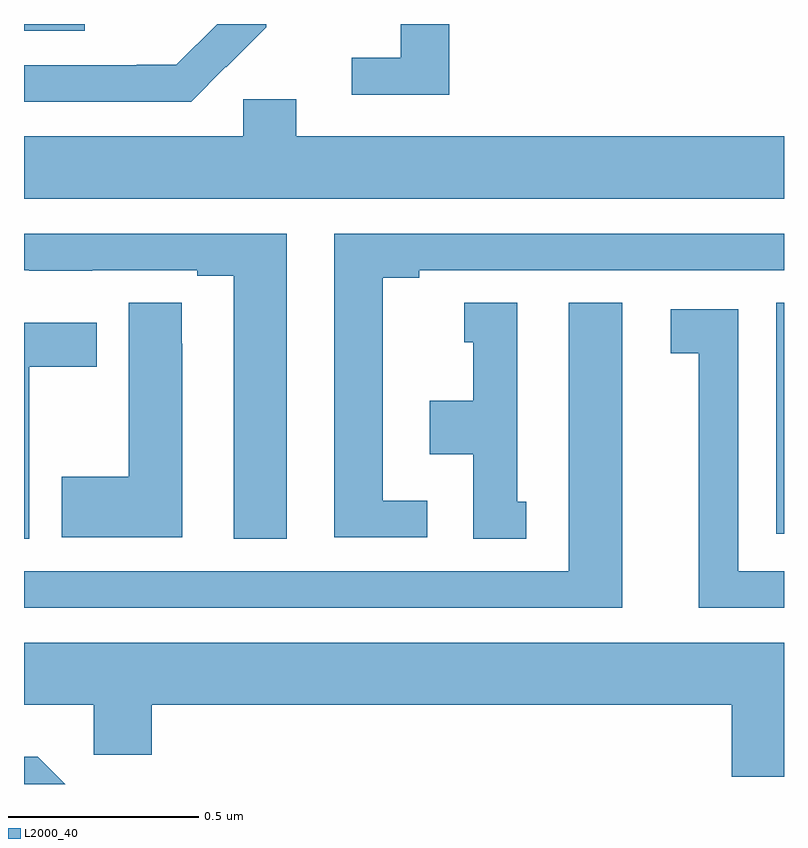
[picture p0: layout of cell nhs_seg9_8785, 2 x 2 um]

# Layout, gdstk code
import gdstk
lib = gdstk.Library(unit=1e-6, precision=1e-09)
def R(c, l, rs):  # rectangles x0, y0, x1, y1
    for r in rs: c.add(gdstk.rectangle(r[:2], r[2:], *l))
def P(c, l, *ps):  # polygons
    for p in ps: c.add(gdstk.Polygon(p, *l))
L2000_40 = (2000, 40)

nhs_seg9_8785 = lib.new_cell('nhs_seg9_8785')
R(nhs_seg9_8785, L2000_40, [(222.98,1242.159,223,1242.767), (221,1243.482,221.16,1243.5)])
P(nhs_seg9_8785, L2000_40, [(221.531,1243.387),(221.532,1243.386),(221.637,1243.491),(221.637,1243.5),(221.508,1243.5),(221.401,1243.393),(221.297,1243.393),(221.297,1243.392),(221,1243.392),(221,1243.296),(221.44,1243.296)],
  [(222.119,1243.5),(221.991,1243.5),(221.991,1243.411),(221.862,1243.411),(221.862,1243.314),(222.119,1243.314)],
  [(223,1243.204),(221.716,1243.204),(221.716,1243.302),(221.577,1243.302),(221.577,1243.204),(221,1243.204),(221,1243.04),(223,1243.04)],
  [(221.692,1242.948),(221,1242.948),(221,1242.852),(221.014,1242.852),(221.014,1242.851),(221.18,1242.851),(221.18,1242.852),(221.456,1242.852),(221.456,1242.837),(221.552,1242.837),(221.552,1242.145),(221.692,1242.145)],
  [(222.061,1242.246),(221.944,1242.246),(221.944,1242.832),(222.04,1242.832),(222.04,1242.852),(223,1242.852),(223,1242.948),(221.816,1242.948),(221.816,1242.15),(222.061,1242.15)],
  [(221.416,1242.659),(221.415,1242.659),(221.415,1242.767),(221.276,1242.767),(221.276,1242.309),(221.099,1242.309),(221.099,1242.149),(221.416,1242.149)],
  [(222.574,1242.766),(222.434,1242.766),(222.434,1242.06),(221,1242.06),(221,1241.964),(222.574,1241.964)],
  [(222.322,1242.243),(222.298,1242.243),(222.298,1242.766),(222.158,1242.766),(222.158,1242.663),(222.182,1242.663),(222.182,1242.508),(222.068,1242.508),(222.068,1242.368),(222.182,1242.368),(222.182,1242.145),(222.322,1242.145)],
  [(223,1242.06),(222.88,1242.06),(222.88,1242.75),(222.702,1242.75),(222.702,1242.634),(222.776,1242.634),(222.776,1241.964),(223,1241.964)],
  [(221.014,1242.598),(221.191,1242.598),(221.191,1242.714),(221,1242.714),(221,1242.145),(221.014,1242.145)],
  [(223,1241.872),(221,1241.872),(221,1241.708),(221.184,1241.708),(221.184,1241.577),(221.336,1241.577),(221.336,1241.708),(222.863,1241.708),(222.863,1241.519),(223,1241.519)],
  [(221.036,1241.572),(221,1241.572),(221,1241.5),(221.108,1241.5)])

lib.write_gds('nhs_seg9_8785.gds')
